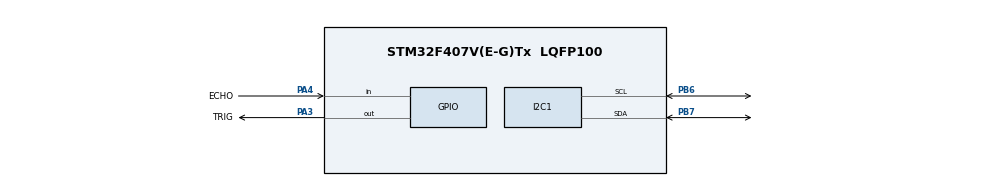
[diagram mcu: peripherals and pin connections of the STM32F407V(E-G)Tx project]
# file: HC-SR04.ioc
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I2C1.I2C_Mode=I2C_Standard
Mcu.Family=STM32F4
Mcu.Name=STM32F407V(E-G)Tx
Mcu.Package=LQFP100
NVIC.PriorityGroup=NVIC_PRIORITYGROUP_4
PA13.Mode=Serial_Wire
PA13.Signal=SYS_JTMS-SWDIO
PA14.Mode=Serial_Wire
PA14.Signal=SYS_JTCK-SWCLK
PA3.GPIO_Label=TRIG
PA3.Signal=GPIO_Output
PA4.GPIO_Label=ECHO
PA4.Signal=GPIO_Input
PB6.Mode=I2C
PB6.Signal=I2C1_SCL
PB7.Mode=I2C
PB7.Signal=I2C1_SDA
PH0-OSC_IN.Mode=HSE-External-Oscillator
PH0-OSC_IN.Signal=RCC_OSC_IN
PH1-OSC_OUT.Mode=HSE-External-Oscillator
PH1-OSC_OUT.Signal=RCC_OSC_OUT
ProjectManager.HeapSize=0x200
ProjectManager.StackSize=0x400
ProjectManager.TargetToolchain=STM32CubeIDE
RCC.48MHZClocksFreq_Value=36000000
RCC.AHBFreq_Value=72000000
RCC.APB1CLKDivider=RCC_HCLK_DIV2
RCC.APB1Freq_Value=36000000
RCC.APB1TimFreq_Value=72000000
RCC.APB2Freq_Value=72000000
RCC.APB2TimFreq_Value=72000000
RCC.CortexFreq_Value=72000000
RCC.HCLKFreq_Value=72000000
RCC.HSE_VALUE=8000000
RCC.HSI_VALUE=16000000
RCC.LSE_VALUE=32768
RCC.PLLM=8
RCC.PLLN=72
RCC.SYSCLKFreq_VALUE=72000000
RCC.SYSCLKSource=RCC_SYSCLKSOURCE_PLLCLK
RCC.VCOOutputFreq_Value=144000000
TIM1.Prescaler=71
VP_TIM1_VS_ClockSourceINT.Mode=Internal
board=custom

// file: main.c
/* USER CODE END Header */
#include "main.h"

/* USER CODE BEGIN Includes */
#include "HC-SR04.h"
#include "stdio.h"
#include "LCD_I2C.h"
/* USER CODE END Includes */

/* USER CODE BEGIN PD */
char buffer[20];
HC_SR04_Config hcsr04 =
{
    .trig_port 	= GPIOA,
    .trig_pin 	= GPIO_PIN_3,
    .echo_port 	= GPIOA,
    .echo_pin 	= GPIO_PIN_4
};
uint16_t distance = 0;
/* USER CODE END PD */

I2C_HandleTypeDef hi2c1;
TIM_HandleTypeDef htim1;

void SystemClock_Config(void);
static void MX_GPIO_Init(void);
static void MX_I2C1_Init(void);
static void MX_TIM1_Init(void);

int main(void)
{

  /* MCU Configuration--------------------------------------------------------*/

  /* Reset of all peripherals, Initializes the Flash interface and the Systick. */
  HAL_Init();

  /* Configure the system clock */
  SystemClock_Config();

  /* Initialize all configured peripherals */
  MX_GPIO_Init();
  MX_I2C1_Init();
  MX_TIM1_Init();
  /* USER CODE BEGIN 2 */
  LCD_INIT();
  HC_SR04_INIT(&hcsr04);
  LCD_SET_CURSOR(0, 0);
  LCD_SEND_STRING("... HC-SR04 ...");
  /* USER CODE END 2 */

  /* Infinite loop */
  /* USER CODE BEGIN WHILE */
  while (1)
  {
	  distance = HC_SR04_GETDISTANCE(&hcsr04);
	  snprintf(buffer, sizeof(buffer), "Distance:%4d cm", distance);
	  LCD_SET_CURSOR(1, 0);
	  LCD_SEND_STRING(buffer);
	  HAL_Delay(100);
    /* USER CODE END WHILE */

  }
}
